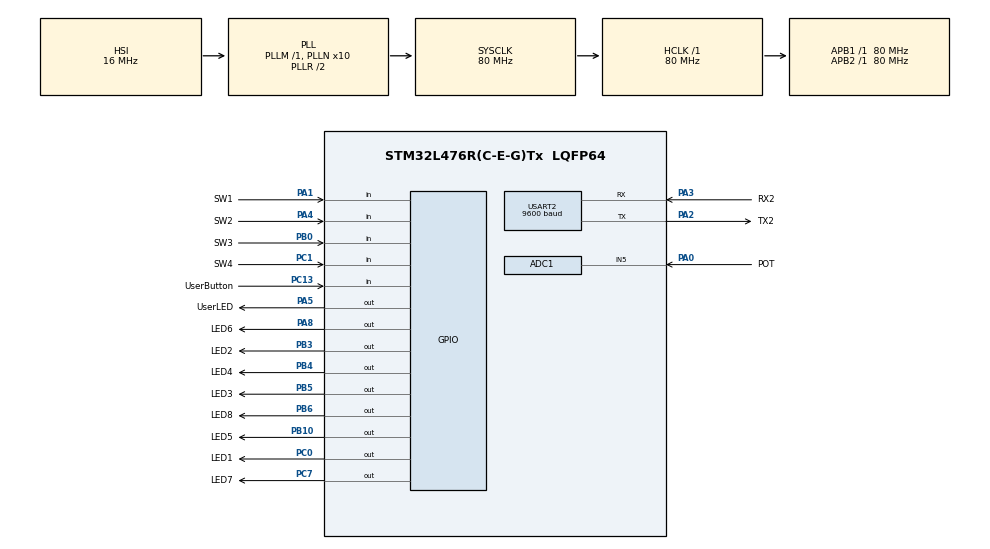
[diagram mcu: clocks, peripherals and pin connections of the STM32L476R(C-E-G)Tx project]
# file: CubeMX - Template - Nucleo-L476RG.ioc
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ADC1.Channel-0\#ChannelRegularConversion=ADC_CHANNEL_5
ADC1.NbrOfConversionFlag=1
ADC1.OffsetNumber-0\#ChannelRegularConversion=ADC_OFFSET_NONE
ADC1.Overrun=ADC_OVR_DATA_OVERWRITTEN
ADC1.Rank-0\#ChannelRegularConversion=1
ADC1.Resolution=ADC_RESOLUTION_12B
ADC1.SamplingTime-0\#ChannelRegularConversion=ADC_SAMPLETIME_2CYCLES_5
ADC1.master=1
FREERTOS.Tasks01=BlinkLed1Thread,24,128,BlinkLed1,Default,NULL,Dynamic,NULL,NULL;Usart2TxThread,24,128,Usart2Tx,Default,NULL,Dynamic,NULL,NULL;Usart2RxThread,24,128,Usart2Rx,Default,NULL,Dynamic,NULL,NULL
FREERTOS.configUSE_NEWLIB_REENTRANT=0
Mcu.Family=STM32L4
Mcu.Name=STM32L476R(C-E-G)Tx
Mcu.Package=LQFP64
NVIC.PriorityGroup=NVIC_PRIORITYGROUP_4
NVIC.TIM6_DAC_IRQn=true\:15\:0\:false\:false\:true\:false\:false\:true\:true
NVIC.TimeBase=TIM6_DAC_IRQn
NVIC.TimeBaseIP=TIM6
PA0.GPIO_Label=POT
PA0.Signal=ADCx_IN5
PA1.GPIO_Label=SW1
PA1.Signal=GPIO_Input
PA13\ (JTMS-SWDIO).GPIO_Label=TMS
PA13\ (JTMS-SWDIO).Mode=Serial_Wire
PA13\ (JTMS-SWDIO).Signal=SYS_JTMS-SWDIO
PA14\ (JTCK-SWCLK).GPIO_Label=TCK
PA14\ (JTCK-SWCLK).Mode=Serial_Wire
PA14\ (JTCK-SWCLK).Signal=SYS_JTCK-SWCLK
PA2.GPIO_Label=TX2
PA2.GPIO_Mode=GPIO_MODE_AF_PP
PA2.GPIO_PuPd=GPIO_NOPULL
PA2.GPIO_Speed=GPIO_SPEED_FREQ_VERY_HIGH
PA2.Mode=Asynchronous
PA2.Signal=USART2_TX
PA3.GPIO_Label=RX2
PA3.GPIO_Mode=GPIO_MODE_AF_PP
PA3.GPIO_PuPd=GPIO_NOPULL
PA3.GPIO_Speed=GPIO_SPEED_FREQ_VERY_HIGH
PA3.Mode=Asynchronous
PA3.Signal=USART2_RX
PA4.GPIO_Label=SW2
PA4.Signal=GPIO_Input
PA5.GPIO_Label=UserLED
PA5.GPIO_ModeDefaultOutputPP=GPIO_MODE_OUTPUT_PP
PA5.GPIO_PuPd=GPIO_NOPULL
PA5.GPIO_Speed=GPIO_SPEED_FREQ_LOW
PA5.Signal=GPIO_Output
PA8.GPIO_Label=LED6
PA8.Signal=GPIO_Output
PB0.GPIO_Label=SW3
PB0.Signal=GPIO_Input
PB10.GPIO_Label=LED5
PB10.Signal=GPIO_Output
PB3\ (JTDO-TRACESWO).GPIO_Label=LED2
PB3\ (JTDO-TRACESWO).Signal=GPIO_Output
PB4\ (NJTRST).GPIO_Label=LED4
PB4\ (NJTRST).Signal=GPIO_Output
PB5.GPIO_Label=LED3
PB5.Signal=GPIO_Output
PB6.GPIO_Label=LED8
PB6.Signal=GPIO_Output
PC0.GPIO_Label=LED1
PC0.Signal=GPIO_Output
PC1.GPIO_Label=SW4
PC1.Signal=GPIO_Input
PC13.GPIO_Label=UserButton
PC13.Signal=GPIO_Input
PC7.GPIO_Label=LED7
PC7.Signal=GPIO_Output
ProjectManager.HeapSize=0x200
ProjectManager.StackSize=0x400
ProjectManager.TargetToolchain=Makefile
RCC.ADCFreq_Value=64000000
RCC.AHBFreq_Value=80000000
RCC.APB1Freq_Value=80000000
RCC.APB1TimFreq_Value=80000000
RCC.APB2Freq_Value=80000000
RCC.APB2TimFreq_Value=80000000
RCC.CortexFreq_Value=80000000
RCC.HCLKFreq_Value=80000000
RCC.HSE_VALUE=8000000
RCC.HSI_VALUE=16000000
RCC.LSE_VALUE=32768
RCC.MSI_VALUE=4000000
RCC.PLLN=10
RCC.PLLSourceVirtual=RCC_PLLSOURCE_HSI
RCC.PREFETCH_ENABLE=1
RCC.SYSCLKFreq_VALUE=80000000
RCC.SYSCLKSource=RCC_SYSCLKSOURCE_PLLCLK
RCC.USBFreq_Value=64000000
RCC.VCOOutputFreq_Value=160000000
SH.ADCx_IN5.0=ADC1_IN5,IN5-Single-Ended
USART2.BaudRate=9600
USART2.OverrunDisableParam=ADVFEATURE_OVERRUN_DISABLE
USART2.VirtualMode-Asynchronous=VM_ASYNC
VP_FREERTOS_VS_CMSIS_V2.Mode=CMSIS_V2
VP_SYS_VS_tim6.Mode=TIM6
board=NUCLEO-L476RG

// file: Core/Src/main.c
/* USER CODE BEGIN Header */
/**
  ******************************************************************************
  * @file           : main.c
  * @brief          : Main program body
  ******************************************************************************
  * @attention
  *
  * Copyright (c) 2023 STMicroelectronics.
  * All rights reserved.
  *
  * This software is licensed under terms that can be found in the LICENSE file
  * in the root directory of this software component.
  * If no LICENSE file comes with this software, it is provided AS-IS.
  *
  ******************************************************************************
  */
	// Versie: 20252026
/* USER CODE END Header */
#include "main.h"
#include "cmsis_os.h"

/* USER CODE BEGIN Includes */
#include "leds.h"
#include "buttons.h"
#include "usart2.h"
#include "ad.h"
#include "stdio.h"
#include "string.h"
/* USER CODE END Includes */

ADC_HandleTypeDef hadc1;

UART_HandleTypeDef huart2;

/* Definitions for BlinkLed1Thread */
osThreadId_t BlinkLed1ThreadHandle;
const osThreadAttr_t BlinkLed1Thread_attributes = {
  .name = "BlinkLed1Thread",
  .stack_size = 128 * 4,
  .priority = (osPriority_t) osPriorityNormal,
};
/* Definitions for Usart2TxThread */
osThreadId_t Usart2TxThreadHandle;
const osThreadAttr_t Usart2TxThread_attributes = {
  .name = "Usart2TxThread",
  .stack_size = 128 * 4,
  .priority = (osPriority_t) osPriorityNormal,
};
/* Definitions for Usart2RxThread */
osThreadId_t Usart2RxThreadHandle;
const osThreadAttr_t Usart2RxThread_attributes = {
  .name = "Usart2RxThread",
  .stack_size = 128 * 4,
  .priority = (osPriority_t) osPriorityNormal,
};

void SystemClock_Config(void);
static void MX_GPIO_Init(void);
static void MX_ADC1_Init(void);
static void MX_USART2_UART_Init(void);
void BlinkLed1(void *argument);
void Usart2Tx(void *argument);
void Usart2Rx(void *argument);

int main(void)
{

  /* MCU Configuration--------------------------------------------------------*/

  /* Reset of all peripherals, Initializes the Flash interface and the Systick. */
  HAL_Init();

  /* Configure the system clock */
  SystemClock_Config();

  /* Initialize all configured peripherals */
  MX_GPIO_Init();
  MX_ADC1_Init();
  MX_USART2_UART_Init();
  /* USER CODE BEGIN 2 */
	// Laten weten dat we opgestart zijn, via de USART2 (USB).
	printf("Reboot\r\n");
  /* USER CODE END 2 */

  /* Init scheduler */
  osKernelInitialize();

  /* Create the thread(s) */
  /* creation of BlinkLed1Thread */
  BlinkLed1ThreadHandle = osThreadNew(BlinkLed1, NULL, &BlinkLed1Thread_attributes);

  /* creation of Usart2TxThread */
  Usart2TxThreadHandle = osThreadNew(Usart2Tx, NULL, &Usart2TxThread_attributes);

  /* creation of Usart2RxThread */
  Usart2RxThreadHandle = osThreadNew(Usart2Rx, NULL, &Usart2RxThread_attributes);

  /* Start scheduler */
  osKernelStart();

  /* We should never get here as control is now taken by the scheduler */

  /* Infinite loop */
  while (1)
  {

  }
}

void SystemClock_Config(void)
{
  RCC_OscInitTypeDef RCC_OscInitStruct = {0};
  RCC_ClkInitTypeDef RCC_ClkInitStruct = {0};

  /** Configure the main internal regulator output voltage
  */
  if (HAL_PWREx_ControlVoltageScaling(PWR_REGULATOR_VOLTAGE_SCALE1) != HAL_OK)
  {
    Error_Handler();
  }

  /** Initializes the RCC Oscillators according to the specified parameters
  * in the RCC_OscInitTypeDef structure.
  */
  RCC_OscInitStruct.OscillatorType = RCC_OSCILLATORTYPE_HSI;
  RCC_OscInitStruct.HSIState = RCC_HSI_ON;
  RCC_OscInitStruct.HSICalibrationValue = RCC_HSICALIBRATION_DEFAULT;
  RCC_OscInitStruct.PLL.PLLState = RCC_PLL_ON;
  RCC_OscInitStruct.PLL.PLLSource = RCC_PLLSOURCE_HSI;
  RCC_OscInitStruct.PLL.PLLM = 1;
  RCC_OscInitStruct.PLL.PLLN = 10;
  RCC_OscInitStruct.PLL.PLLP = RCC_PLLP_DIV7;
  RCC_OscInitStruct.PLL.PLLQ = RCC_PLLQ_DIV2;
  RCC_OscInitStruct.PLL.PLLR = RCC_PLLR_DIV2;
  if (HAL_RCC_OscConfig(&RCC_OscInitStruct) != HAL_OK)
  {
    Error_Handler();
  }

  /** Initializes the CPU, AHB and APB buses clocks
  */
  RCC_ClkInitStruct.ClockType = RCC_CLOCKTYPE_HCLK|RCC_CLOCKTYPE_SYSCLK
                              |RCC_CLOCKTYPE_PCLK1|RCC_CLOCKTYPE_PCLK2;
  RCC_ClkInitStruct.SYSCLKSource = RCC_SYSCLKSOURCE_PLLCLK;
  RCC_ClkInitStruct.AHBCLKDivider = RCC_SYSCLK_DIV1;
  RCC_ClkInitStruct.APB1CLKDivider = RCC_HCLK_DIV1;
  RCC_ClkInitStruct.APB2CLKDivider = RCC_HCLK_DIV1;

  if (HAL_RCC_ClockConfig(&RCC_ClkInitStruct, FLASH_LATENCY_4) != HAL_OK)
  {
    Error_Handler();
  }
}

static void MX_ADC1_Init(void)
{

  ADC_MultiModeTypeDef multimode = {0};
  ADC_ChannelConfTypeDef sConfig = {0};

  /** Common config
  */
  hadc1.Instance = ADC1;
  hadc1.Init.ClockPrescaler = ADC_CLOCK_ASYNC_DIV1;
  hadc1.Init.Resolution = ADC_RESOLUTION_12B;
  hadc1.Init.DataAlign = ADC_DATAALIGN_RIGHT;
  hadc1.Init.ScanConvMode = ADC_SCAN_DISABLE;
  hadc1.Init.EOCSelection = ADC_EOC_SINGLE_CONV;
  hadc1.Init.LowPowerAutoWait = DISABLE;
  hadc1.Init.ContinuousConvMode = DISABLE;
  hadc1.Init.NbrOfConversion = 1;
  hadc1.Init.DiscontinuousConvMode = DISABLE;
  hadc1.Init.ExternalTrigConv = ADC_SOFTWARE_START;
  hadc1.Init.ExternalTrigConvEdge = ADC_EXTERNALTRIGCONVEDGE_NONE;
  hadc1.Init.DMAContinuousRequests = DISABLE;
  hadc1.Init.Overrun = ADC_OVR_DATA_OVERWRITTEN;
  hadc1.Init.OversamplingMode = DISABLE;
  if (HAL_ADC_Init(&hadc1) != HAL_OK)
  {
    Error_Handler();
  }

  /** Configure the ADC multi-mode
  */
  multimode.Mode = ADC_MODE_INDEPENDENT;
  if (HAL_ADCEx_MultiModeConfigChannel(&hadc1, &multimode) != HAL_OK)
  {
    Error_Handler();
  }

  /** Configure Regular Channel
  */
  sConfig.Channel = ADC_CHANNEL_5;
  sConfig.Rank = ADC_REGULAR_RANK_1;
  sConfig.SamplingTime = ADC_SAMPLETIME_2CYCLES_5;
  sConfig.SingleDiff = ADC_SINGLE_ENDED;
  sConfig.OffsetNumber = ADC_OFFSET_NONE;
  sConfig.Offset = 0;
  if (HAL_ADC_ConfigChannel(&hadc1, &sConfig) != HAL_OK)
  {
    Error_Handler();
  }

}

static void MX_USART2_UART_Init(void)
{

  huart2.Instance = USART2;
  huart2.Init.BaudRate = 9600;
  huart2.Init.WordLength = UART_WORDLENGTH_8B;
  huart2.Init.StopBits = UART_STOPBITS_1;
  huart2.Init.Parity = UART_PARITY_NONE;
  huart2.Init.Mode = UART_MODE_TX_RX;
  huart2.Init.HwFlowCtl = UART_HWCONTROL_NONE;
  huart2.Init.OverSampling = UART_OVERSAMPLING_16;
  huart2.Init.OneBitSampling = UART_ONE_BIT_SAMPLE_DISABLE;
  huart2.AdvancedInit.AdvFeatureInit = UART_ADVFEATURE_RXOVERRUNDISABLE_INIT;
  huart2.AdvancedInit.OverrunDisable = UART_ADVFEATURE_OVERRUN_DISABLE;
  if (HAL_UART_Init(&huart2) != HAL_OK)
  {
    Error_Handler();
  }

}

static void MX_GPIO_Init(void)
{
  GPIO_InitTypeDef GPIO_InitStruct = {0};

  /* GPIO Ports Clock Enable */
  __HAL_RCC_GPIOC_CLK_ENABLE();
  __HAL_RCC_GPIOA_CLK_ENABLE();
  __HAL_RCC_GPIOB_CLK_ENABLE();

  /*Configure GPIO pin Output Level */
  HAL_GPIO_WritePin(GPIOC, LED1_Pin|LED7_Pin, GPIO_PIN_RESET);

  /*Configure GPIO pin Output Level */
  HAL_GPIO_WritePin(GPIOA, UserLED_Pin|LED6_Pin, GPIO_PIN_RESET);

  /*Configure GPIO pin Output Level */
  HAL_GPIO_WritePin(GPIOB, LED5_Pin|LED2_Pin|LED4_Pin|LED3_Pin
                          |LED8_Pin, GPIO_PIN_RESET);

  /*Configure GPIO pins : UserButton_Pin SW4_Pin */
  GPIO_InitStruct.Pin = UserButton_Pin|SW4_Pin;
  GPIO_InitStruct.Mode = GPIO_MODE_INPUT;
  GPIO_InitStruct.Pull = GPIO_NOPULL;
  HAL_GPIO_Init(GPIOC, &GPIO_InitStruct);

  /*Configure GPIO pins : LED1_Pin LED7_Pin */
  GPIO_InitStruct.Pin = LED1_Pin|LED7_Pin;
  GPIO_InitStruct.Mode = GPIO_MODE_OUTPUT_PP;
  GPIO_InitStruct.Pull = GPIO_NOPULL;
  GPIO_InitStruct.Speed = GPIO_SPEED_FREQ_LOW;
  HAL_GPIO_Init(GPIOC, &GPIO_InitStruct);

  /*Configure GPIO pins : SW1_Pin SW2_Pin */
  GPIO_InitStruct.Pin = SW1_Pin|SW2_Pin;
  GPIO_InitStruct.Mode = GPIO_MODE_INPUT;
  GPIO_InitStruct.Pull = GPIO_NOPULL;
  HAL_GPIO_Init(GPIOA, &GPIO_InitStruct);

  /*Configure GPIO pins : UserLED_Pin LED6_Pin */
  GPIO_InitStruct.Pin = UserLED_Pin|LED6_Pin;
  GPIO_InitStruct.Mode = GPIO_MODE_OUTPUT_PP;
  GPIO_InitStruct.Pull = GPIO_NOPULL;
  GPIO_InitStruct.Speed = GPIO_SPEED_FREQ_LOW;
  HAL_GPIO_Init(GPIOA, &GPIO_InitStruct);

  /*Configure GPIO pin : SW3_Pin */
  GPIO_InitStruct.Pin = SW3_Pin;
  GPIO_InitStruct.Mode = GPIO_MODE_INPUT;
  GPIO_InitStruct.Pull = GPIO_NOPULL;
  HAL_GPIO_Init(SW3_GPIO_Port, &GPIO_InitStruct);

  /*Configure GPIO pins : LED5_Pin LED2_Pin LED4_Pin LED3_Pin
                           LED8_Pin */
  GPIO_InitStruct.Pin = LED5_Pin|LED2_Pin|LED4_Pin|LED3_Pin
                          |LED8_Pin;
  GPIO_InitStruct.Mode = GPIO_MODE_OUTPUT_PP;
  GPIO_InitStruct.Pull = GPIO_NOPULL;
  GPIO_InitStruct.Speed = GPIO_SPEED_FREQ_LOW;
  HAL_GPIO_Init(GPIOB, &GPIO_InitStruct);

}

void BlinkLed1(void *argument)
{
  /* USER CODE BEGIN 5 */
  /* Infinite loop */
  for(;;)
  {
		// LED1 toggle'n.
		HAL_GPIO_TogglePin(LED1_GPIO_Port, LED1_Pin);

		// Even wachten (in Blocked status).
    osDelay(500);
  }
  /* USER CODE END 5 */
}

void Usart2Tx(void *argument)
{
  /* USER CODE BEGIN Usart2Tx */
	char message[50];
	uint8_t counter = 0;

  /* Infinite loop */
  for(;;)
  {
		// Teken van leven geven via UART2.
		sprintf(message, "Hallo CMSIS RTOS V2...%u\r\n", counter);
		HAL_UART_Transmit(&huart2, (uint8_t*)message, strlen(message), HAL_MAX_DELAY);

		// Even wachten.
    osDelay(1000);
		counter++;
  }
  /* USER CODE END Usart2Tx */
}

void Usart2Rx(void *argument)
{
  /* USER CODE BEGIN Usart2Rx */
	uint8_t receivedData = 0;

  /* Infinite loop */
  for(;;)
  {
		// Probeer ��n byte te ontvangen via USART2. Doe dat via 'polling' en wacht oneindig lang...
		// Zonder het concept threads (tasks) in een RTOS, zou deze code blokkeren tot er een byte
		// ontvangen wordt. Nu zal deze thread de voorziene tijd krijgen van de scheduler, daarna wordt
		// overgestapt naar een andere thread (indien nodig). Deze thread krijgt daarna opnieuw de aandacht
		// van de CPU om te kijken of er ��n byte is aangekomen. Deze afwisseling van threads herhaalt zich
		// continu.
		HAL_UART_Receive(&huart2, (uint8_t*)&receivedData, 1, HAL_MAX_DELAY);

		// Als er een byte ontvangen is, toon hem op de LED's.
		ByteToLeds(receivedData);
  }
  /* USER CODE END Usart2Rx */
}

void HAL_TIM_PeriodElapsedCallback(TIM_HandleTypeDef *htim)
{
  if (htim->Instance == TIM6)
  {
    HAL_IncTick();
  }
}

void Error_Handler(void)
{
  __disable_irq();
  while (1)
  {
  }
}
#ifdef USE_FULL_ASSERT
/**
  * @brief  Reports the name of the source file and the source line number
  *         where the assert_param error has occurred.
  * @param  file: pointer to the source file name
  * @param  line: assert_param error line source number
  * @retval None
  */
void assert_failed(uint8_t *file, uint32_t line)
{
  /* USER CODE BEGIN 6 */
  /* User can add his own implementation to report the file name and line number,
     ex: printf("Wrong parameters value: file %s on line %d\r\n", file, line) */
// Versie: 20252026
  /* USER CODE END 6 */
}
#endif /* USE_FULL_ASSERT */
